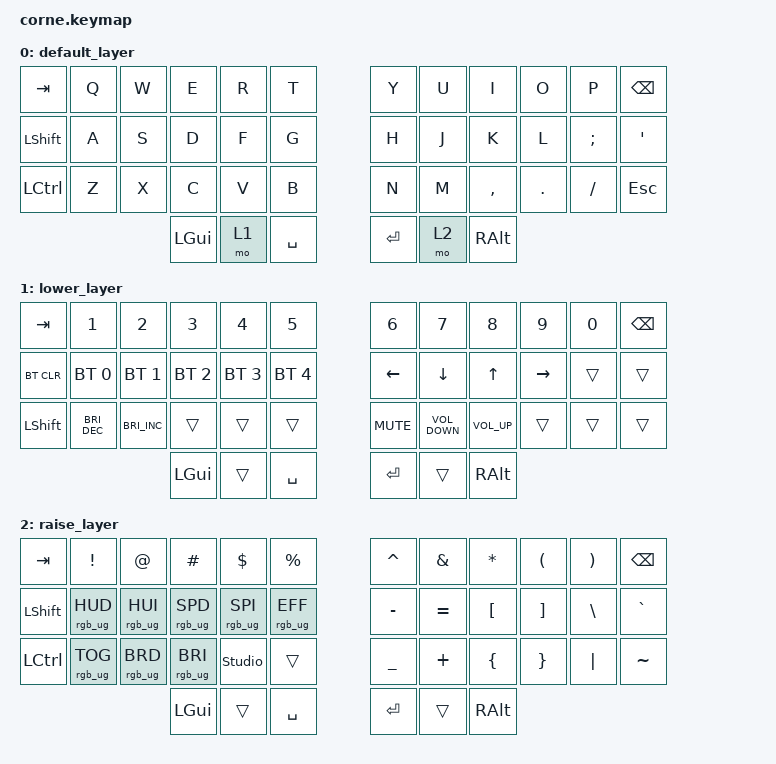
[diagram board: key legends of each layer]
/*
 * Copyright (c) 2020 The ZMK Contributors
 *
 * SPDX-License-Identifier: MIT
 */

#include <behaviors.dtsi>
#include <dt-bindings/zmk/keys.h>
#include <dt-bindings/zmk/bt.h>
#include <dt-bindings/zmk/rgb.h>

&led_strip {
  // chain-length = <0>;
  chain-length = <27>;
  // 21 backlight + 6 glowlight
};

/ {
        keymap {
                compatible = "zmk,keymap";

                default_layer {
// -----------------------------------------------------------------------------------------
// |  TAB |  Q  |  W  |  E  |  R  |  T  |   |  Y  |  U   |  I  |  O  |  P  | BSPC |
// | CTRL |  A  |  S  |  D  |  F  |  G  |   |  H  |  J   |  K  |  L  |  ;  |  '   |
// | SHFT |  Z  |  X  |  C  |  V  |  B  |   |  N  |  M   |  ,  |  .  |  /  | ESC  |
//                    | GUI | LWR | SPC |   | ENT | RSE  | ALT |
                        bindings = < 
   &kp TAB   &kp Q &kp W &kp E &kp R &kp T   &kp Y &kp U  &kp I     &kp O   &kp P    &kp BSPC
   &kp LSHFT &kp A &kp S &kp D &kp F &kp G   &kp H &kp J  &kp K     &kp L   &kp SEMI &kp SQT
   &kp LCTRL &kp Z &kp X &kp C &kp V &kp B   &kp N &kp M  &kp COMMA &kp DOT &kp FSLH &kp ESC
                  &kp LGUI &mo 1 &kp SPACE   &kp RET &mo 2 &kp RALT
                        >;
                };
                lower_layer {
// -----------------------------------------------------------------------------------------
// |  TAB |  1  |  2  |  3  |  4  |  5  |   |  6  |  7  |  8  |  9  |  0  | BSPC |
// | BTCLR| BT1 | BT2 | BT3 | BT4 | BT5 |   | LFT | DWN |  UP | RGT |     |      |
// | SHFT |     |     |     |     |     |   |     |     |     |     |     |      |
//                    | GUI |     | SPC |   | ENT |     | ALT |
                        bindings = <
   &kp TAB    &kp N1       &kp N2       &kp N3       &kp N4       &kp N5         &kp N6   &kp N7   &kp N8 &kp N9    &kp N0 &kp BSPC
   &bt BT_CLR &bt BT_SEL 0 &bt BT_SEL 1 &bt BT_SEL 2 &bt BT_SEL 3 &bt BT_SEL 4   &kp LEFT &kp DOWN &kp UP &kp RIGHT &trans &trans
   &kp LSHFT  &kp C_BRIGHTNESS_DEC       &kp C_BRIGHTNESS_INC       &trans       &trans       &trans         &kp C_MUTE   &kp C_VOLUME_DOWN   &kp C_VOLUME_UP &trans    &trans &trans
                                    &kp LGUI     &trans       &kp SPACE      &kp RET  &trans   &kp RALT
                        >;
                };

                raise_layer {
// -----------------------------------------------------------------------------------------
// |  TAB |  !  |  @  |  #  |  $  |  %  |   |  ^  |  &  |  *  |  (  |  )  | BSPC |
// | CTRL |     |     |     |     |     |   |  -  |  =  |  [  |  ]  |  \  |  `   |
// | SHFT |     |     |     |     |     |   |  _  |  +  |  {  |  }  | "|" |  ~   |
//                    | GUI |     | SPC |   | ENT |     | ALT |
                        bindings = <
   &kp  TAB  &kp EXCL &kp AT &kp HASH &kp DLLR &kp PRCNT   &kp CARET &kp AMPS  &kp ASTRK &kp LPAR &kp RPAR &kp BSPC
   &kp LSHFT &rgb_ug RGB_HUD   &rgb_ug RGB_HUI &rgb_ug RGB_SPD   &rgb_ug RGB_SPI    &rgb_ug RGB_EFF      &kp MINUS &kp EQUAL &kp LBKT  &kp RBKT &kp BSLH &kp GRAVE
   &kp LCTRL &rgb_ug RGB_TOG   &rgb_ug RGB_BRD  &rgb_ug RGB_BRI &studio_unlock &trans      &kp UNDER &kp PLUS  &kp LBRC  &kp RBRC &kp PIPE &kp TILDE
                             &kp LGUI &trans   &kp SPACE   &kp RET   &trans    &kp RALT
                        >;
                };
        };
};
